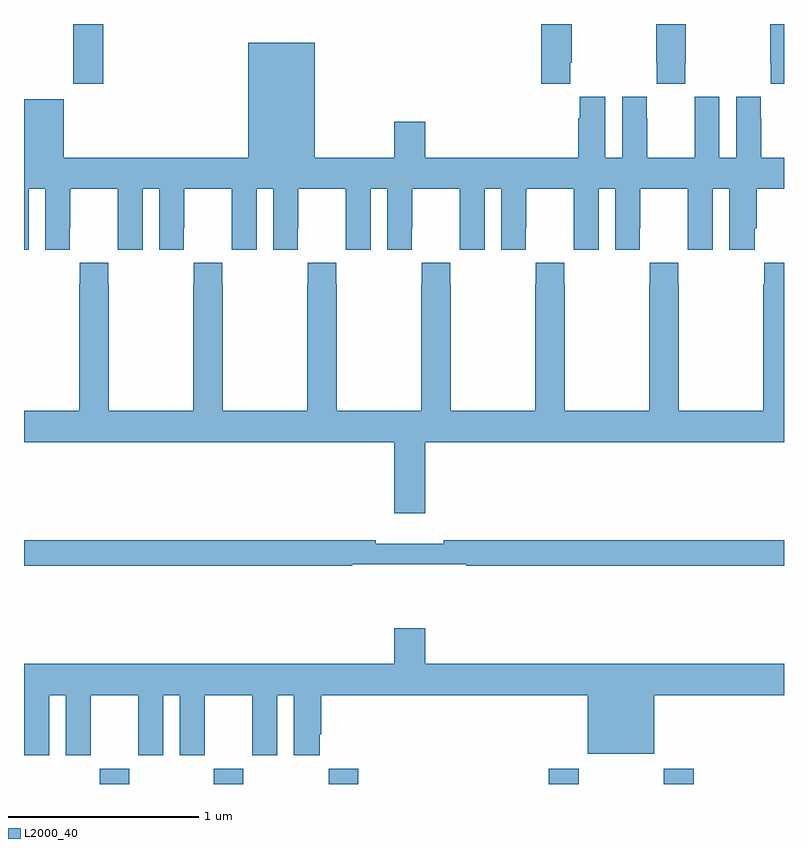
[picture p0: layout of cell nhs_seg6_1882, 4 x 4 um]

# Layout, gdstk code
import gdstk
lib = gdstk.Library(unit=1e-6, precision=1e-09)
def R(c, l, rs):  # rectangles x0, y0, x1, y1
    for r in rs: c.add(gdstk.rectangle(r[:2], r[2:], *l))
def P(c, l, *ps):  # polygons
    for p in ps: c.add(gdstk.Polygon(p, *l))
L2000_40 = (2000, 40)

nhs_seg6_1882 = lib.new_cell('nhs_seg6_1882')
R(nhs_seg6_1882, L2000_40, [(223.399,981.5,223.554,981.58), (223.999,981.5,224.154,981.58), (224.603,981.5,224.759,981.58), (225.761,981.5,225.921,981.58), (226.366,981.5,226.526,981.58), (223.258,985.185,223.418,985.5)])
P(nhs_seg6_1882, L2000_40, [(227,985.5),(226.927,985.5),(226.927,985.297),(226.929,985.297),(226.929,985.185),(227,985.185)],
  [(226.479,985.297),(226.482,985.297),(226.482,985.5),(226.327,985.5),(226.327,985.297),(226.329,985.297),(226.329,985.185),(226.479,985.185)],
  [(225.875,985.297),(225.882,985.297),(225.882,985.5),(225.722,985.5),(225.722,985.185),(225.875,985.185)],
  [(226.242,984.424),(226.243,984.424),(226.243,984.632),(226.493,984.632),(226.493,984.424),(226.494,984.424),(226.494,984.312),(226.624,984.312),(226.624,984.632),(226.712,984.632),(226.712,984.312),(226.846,984.312),(226.846,984.424),(226.856,984.424),(226.856,984.632),(227,984.632),(227,984.796),(226.879,984.796),(226.879,985.004),(226.878,985.004),(226.878,985.117),(226.748,985.117),(226.748,984.796),(226.66,984.796),(226.66,985.117),(226.53,985.117),(226.53,985.004),(226.529,985.004),(226.529,984.796),(226.279,984.796),(226.279,985.004),(226.278,985.004),(226.278,985.117),(226.148,985.117),(226.148,984.796),(226.06,984.796),(226.06,985.117),(225.926,985.117),(225.926,985.004),(225.917,985.004),(225.917,984.796),(225.112,984.796),(225.112,984.985),(224.948,984.985),(224.948,984.796),(224.53,984.796),(224.53,985.402),(224.18,985.402),(224.18,984.796),(223.21,984.796),(223.21,985.105),(223,985.105),(223,984.312),(223.024,984.312),(223.024,984.632),(223.112,984.632),(223.112,984.312),(223.242,984.312),(223.242,984.424),(223.243,984.424),(223.243,984.632),(223.493,984.632),(223.493,984.424),(223.494,984.424),(223.494,984.312),(223.624,984.312),(223.624,984.632),(223.712,984.632),(223.712,984.312),(223.842,984.312),(223.842,984.424),(223.843,984.424),(223.843,984.632),(224.093,984.632),(224.093,984.424),(224.094,984.424),(224.094,984.312),(224.224,984.312),(224.224,984.632),(224.312,984.632),(224.312,984.312),(224.442,984.312),(224.442,984.424),(224.443,984.424),(224.443,984.632),(224.693,984.632),(224.693,984.424),(224.694,984.424),(224.694,984.312),(224.824,984.312),(224.824,984.632),(224.912,984.632),(224.912,984.312),(225.042,984.312),(225.042,984.424),(225.043,984.424),(225.043,984.632),(225.293,984.632),(225.293,984.424),(225.294,984.424),(225.294,984.312),(225.424,984.312),(225.424,984.632),(225.512,984.632),(225.512,984.312),(225.642,984.312),(225.642,984.424),(225.643,984.424),(225.643,984.632),(225.893,984.632),(225.893,984.424),(225.894,984.424),(225.894,984.312),(226.024,984.312),(226.024,984.632),(226.112,984.632),(226.112,984.312),(226.242,984.312)],
  [(225.112,983.3),(227,983.3),(227,984.244),(226.897,984.244),(226.897,984.131),(226.891,984.131),(226.891,983.464),(226.446,983.464),(226.446,984.131),(226.443,984.131),(226.443,984.244),(226.293,984.244),(226.293,984.131),(226.291,984.131),(226.291,983.464),(225.846,983.464),(225.846,984.131),(225.843,984.131),(225.843,984.244),(225.693,984.244),(225.693,984.131),(225.691,984.131),(225.691,983.464),(225.246,983.464),(225.246,984.131),(225.243,984.131),(225.243,984.244),(225.093,984.244),(225.093,984.131),(225.091,984.131),(225.091,983.464),(224.646,983.464),(224.646,984.131),(224.643,984.131),(224.643,984.244),(224.493,984.244),(224.493,984.131),(224.491,984.131),(224.491,983.464),(224.046,983.464),(224.046,984.131),(224.043,984.131),(224.043,984.244),(223.893,984.244),(223.893,984.131),(223.891,984.131),(223.891,983.464),(223.446,983.464),(223.446,984.131),(223.443,984.131),(223.443,984.244),(223.293,984.244),(223.293,984.131),(223.291,984.131),(223.291,983.464),(223,983.464),(223,983.3),(224.948,983.3),(224.948,982.926),(225.112,982.926)],
  [(224.728,982.656),(225.328,982.656),(225.328,982.648),(227,982.648),(227,982.784),(225.208,982.784),(225.208,982.765),(224.852,982.765),(224.852,982.784),(223,982.784),(223,982.648),(224.728,982.648)],
  [(223.132,981.968),(223.22,981.968),(223.22,981.651),(223.351,981.651),(223.351,981.968),(223.601,981.968),(223.601,981.651),(223.732,981.651),(223.732,981.968),(223.82,981.968),(223.82,981.651),(223.951,981.651),(223.951,981.968),(224.201,981.968),(224.201,981.651),(224.332,981.651),(224.332,981.968),(224.42,981.968),(224.42,981.651),(224.557,981.651),(224.557,981.763),(224.564,981.763),(224.564,981.968),(225.968,981.968),(225.968,981.659),(226.318,981.659),(226.318,981.968),(227,981.968),(227,982.132),(225.112,982.132),(225.112,982.321),(224.948,982.321),(224.948,982.132),(223,982.132),(223,981.968),(223.001,981.968),(223.001,981.651),(223.132,981.651)])

lib.write_gds('nhs_seg6_1882.gds')
